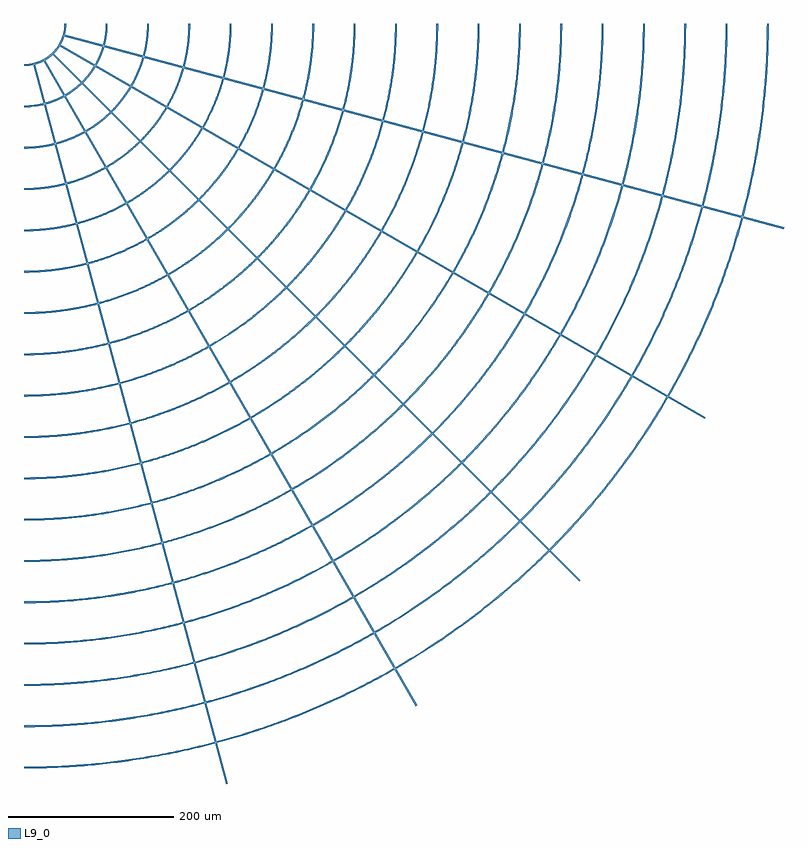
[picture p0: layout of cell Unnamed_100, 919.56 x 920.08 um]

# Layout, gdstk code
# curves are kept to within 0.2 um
from math import pi, radians
import gdstk
lib = gdstk.Library(unit=1e-6, precision=1e-09)
def R(c, l, rs):  # rectangles x0, y0, x1, y1
    for r in rs: c.add(gdstk.rectangle(r[:2], r[2:], *l))
def P(c, l, *ps):  # polygons
    for p in ps: c.add(gdstk.Polygon(p, *l))
L9_0 = (9, 0)

rectangle_s2_902_l9_0_c_ = lib.new_cell('rectangle_S2_902_L9_0_C_224e03a7')
R(rectangle_s2_902_l9_0_c_, L9_0, [(0,0,2,902)])

unnamed_101 = lib.new_cell('Unnamed_101')
P(unnamed_101, L9_0, [(0,-851),(0,-849),(22.701,-848.716),(49.922,-847.616),(77.097,-845.691),(99.689,-843.458),(117.719,-841.262),(140.187,-838.005),(158.097,-834.992),(180.394,-830.718),(202.576,-825.882),(220.229,-821.611),(242.168,-815.772),(263.952,-809.381),(285.569,-802.441),(307.003,-794.959),(328.241,-786.937),(345.082,-780.135),(365.934,-771.157),(382.448,-763.597),(402.87,-753.68),(423.036,-743.251),(442.932,-732.315),(462.545,-720.881),(481.863,-708.956),(500.874,-696.546),(519.566,-683.66),(537.926,-670.307),(555.943,-656.494),(570.102,-645.118),(587.473,-630.501),(604.469,-615.45),(621.08,-599.974),(634.084,-587.294),(649.974,-571.08),(665.45,-554.469),(680.501,-537.473),(692.23,-523.605),(706.494,-505.943),(720.307,-487.926),(733.66,-469.566),(744.007,-454.638),(756.512,-435.69),(768.535,-416.432),(780.068,-396.877),(791.104,-377.037),(801.635,-356.924),(811.655,-336.552),(821.157,-315.934),(828.382,-299.27),(836.937,-278.241),(844.959,-257.003),(850.988,-239.871),(858.036,-218.29),(864.538,-196.538),(869.342,-179.022),(874.847,-156.997),(879.795,-134.84),(883.35,-117.029),(887.286,-94.67),(890.028,-76.716),(892.943,-54.201),(895.691,-27.097),(897.616,0.078),(898.716,27.299),(899,50),(901,50),(900.715,27.249),(899.854,4.512),(898.418,-18.196),(896.41,-40.861),(894.391,-58.951),(891.355,-81.501),(887.75,-103.967),(883.579,-126.335),(878.845,-148.59),(873.55,-170.719),(868.913,-188.321),(862.618,-210.186),(855.772,-231.885),(848.382,-253.405),(840.45,-274.731),(831.982,-295.85),(824.825,-312.587),(815.407,-333.299),(805.468,-353.767),(795.015,-373.977),(784.056,-393.917),(774.928,-409.666),(763.074,-429.087),(750.733,-448.203),(737.913,-467.001),(727.318,-481.803),(713.658,-499.999),(699.542,-517.844),(684.98,-535.327),(669.981,-552.437),(654.555,-569.163),(638.712,-585.494),(622.461,-601.42),(605.814,-616.93),(588.78,-632.015),(574.882,-643.77),(557.18,-658.065),(539.122,-671.909),(520.721,-685.293),(501.988,-698.207),(486.771,-708.195),(467.47,-720.245),(447.871,-731.804),(427.987,-742.864),(407.83,-753.418),(387.412,-763.46),(366.748,-772.983),(345.85,-781.982),(324.731,-790.45),(303.405,-798.382),(281.885,-805.772),(260.186,-812.618),(238.321,-818.913),(220.719,-823.55),(198.59,-828.845),(176.335,-833.579),(153.967,-837.75),(131.501,-841.355),(108.951,-844.391),(90.861,-846.41),(68.196,-848.418),(45.488,-849.854),(22.751,-850.715)],
  [(0,-701),(0,-699),(18.913,-698.763),(41.592,-697.847),(64.233,-696.243),(86.815,-693.954),(120.531,-689.241),(150.295,-683.768),(168.776,-679.739),(187.149,-675.245),(219.911,-665.991),(237.921,-660.21),(255.779,-653.976),(287.504,-641.625),(318.636,-627.846),(335.651,-619.584),(352.451,-610.895),(369.028,-601.784),(385.368,-592.258),(414.155,-574.083),(429.782,-563.426),(445.135,-552.378),(460.204,-540.946),(474.979,-529.137),(500.805,-506.955),(514.709,-494.131),(528.285,-480.96),(541.524,-467.451),(554.418,-453.612),(576.73,-427.898),(597.851,-401.197),(609.053,-385.957),(619.868,-370.438),(630.287,-354.652),(640.304,-338.607),(657.301,-309.109),(666.159,-292.397),(674.593,-275.467),(682.596,-258.329),(690.164,-240.994),(697.292,-223.474),(703.976,-205.779),(714.871,-173.525),(720.288,-155.402),(725.245,-137.149),(733,-103.999),(739.241,-70.531),(743.954,-36.815),(746.243,-14.233),(747.847,8.408),(748.763,31.087),(749,50),(751,50),(750.763,31.036),(750.045,12.085),(747.547,-21.959),(745.491,-40.813),(742.961,-59.609),(739.956,-78.334),(736.479,-96.978),(729.04,-130.293),(724.255,-148.645),(719.008,-166.87),(713.302,-184.957),(707.142,-202.893),(700.53,-220.669),(693.472,-238.272),(679.656,-269.487),(671.372,-286.547),(662.66,-303.393),(645.917,-333.14),(636.036,-349.328),(625.75,-365.261),(615.064,-380.93),(603.986,-396.324),(583.081,-423.309),(570.943,-437.881),(558.442,-452.143),(545.584,-466.084),(532.378,-479.696),(518.833,-492.97),(504.957,-505.898),(490.759,-518.472),(476.247,-530.683),(461.433,-542.524),(446.324,-553.986),(418.416,-573.644),(402.535,-584.011),(386.397,-593.973),(370.013,-603.525),(353.393,-612.66),(336.547,-621.372),(319.487,-629.656),(288.272,-643.472),(270.669,-650.53),(252.893,-657.142),(234.957,-663.302),(216.87,-669.008),(198.645,-674.255),(180.293,-679.04),(146.978,-686.479),(128.334,-689.956),(109.609,-692.961),(90.813,-695.491),(71.959,-697.547),(37.915,-700.045),(18.964,-700.763)],
  [(0,-801),(0,-799),(21.438,-798.732),(47.145,-797.693),(68.536,-796.232),(94.145,-793.767),(115.421,-791.12),(132.39,-788.617),(149.304,-785.771),(170.361,-781.735),(191.309,-777.168),(212.135,-772.073),(228.699,-767.62),(249.272,-761.584),(269.686,-755.031),(289.928,-747.964),(309.985,-740.389),(325.889,-733.965),(345.582,-725.486),(365.053,-716.512),(384.292,-707.05),(403.286,-697.105),(422.023,-686.683),(436.819,-678.007),(455.063,-666.745),(473.017,-655.025),(487.163,-645.326),(504.566,-632.802),(521.646,-619.844),(538.394,-606.458),(551.546,-595.447),(567.669,-581.314),(583.429,-566.779),(598.817,-551.85),(610.854,-539.63),(625.548,-524.017),(639.843,-508.038),(653.73,-491.703),(664.54,-478.386),(677.671,-461.437),(690.369,-444.162),(702.627,-426.572),(714.437,-408.677),(725.791,-390.491),(736.683,-372.023),(747.105,-353.286),(757.05,-334.292),(764.659,-318.92),(773.731,-299.494),(782.309,-279.845),(790.389,-259.985),(796.49,-243.955),(803.658,-223.749),(810.315,-203.368),(816.454,-182.826),(822.073,-162.135),(827.168,-141.309),(830.864,-124.56),(835.006,-103.524),(837.938,-86.624),(840.527,-69.668),(843.28,-48.405),(845.875,-22.809),(847.693,2.855),(848.732,28.562),(849,50),(851,50),(850.731,28.511),(849.917,7.036),(848.876,-10.125),(847.087,-31.541),(844.758,-52.905),(841.89,-74.204),(838.485,-95.423),(834.546,-116.549),(830.074,-137.57),(825.073,-158.47),(819.546,-179.238),(814.748,-195.747),(808.282,-216.242),(801.302,-236.568),(795.349,-252.697),(787.452,-272.684),(779.053,-292.465),(770.156,-312.028),(760.769,-331.36),(750.897,-350.449),(740.546,-369.282),(729.722,-387.848),(720.728,-402.501),(709.072,-420.556),(699.421,-434.784),(686.957,-452.291),(674.054,-469.477),(660.722,-486.332),(646.968,-502.845),(632.801,-519.006),(618.232,-534.803),(603.267,-550.228),(587.919,-565.27),(572.195,-579.919),(556.106,-594.167),(539.663,-608.004),(522.875,-621.422),(505.754,-634.411),(491.825,-644.488),(474.131,-656.686),(456.135,-668.433),(437.848,-679.722),(419.282,-690.546),(400.449,-700.897),(385.198,-708.833),(365.913,-718.318),(346.396,-727.313),(326.657,-735.812),(306.71,-743.81),(286.568,-751.302),(266.242,-758.282),(245.747,-764.748),(229.238,-769.546),(208.47,-775.073),(187.57,-780.074),(166.549,-784.546),(145.423,-788.485),(124.204,-791.89),(102.905,-794.758),(81.541,-797.087),(60.125,-798.876),(42.964,-799.917),(21.489,-800.731)],
  [(0,-551),(0,-549),(18.15,-548.727),(36.283,-547.902),(54.383,-546.528),(72.433,-544.606),(99.378,-540.701),(123.158,-536.204),(149.669,-530.002),(175.87,-522.602),(201.709,-514.018),(229.927,-503.116),(254.824,-492.096),(281.867,-478.54),(305.594,-465.185),(331.214,-449.1),(355.989,-431.742),(379.857,-413.155),(400.511,-395.415),(422.487,-374.627),(443.386,-352.755),(463.155,-329.857),(481.742,-305.989),(497.421,-283.73),(513.635,-258.192),(527.109,-234.533),(540.802,-207.558),(551.947,-182.717),(561.952,-157.396),(571.706,-128.76),(579.239,-102.596),(586.204,-73.158),(590.701,-49.378),(594.606,-22.433),(596.528,-4.383),(597.902,13.717),(598.727,31.85),(599,50),(601,50),(600.235,19.658),(597.938,-10.607),(594.116,-40.718),(589.38,-67.622),(582.69,-97.227),(574.514,-126.458),(565.902,-152.382),(554.962,-180.694),(542.608,-208.418),(530.304,-232.808),(515.35,-259.221),(500.766,-282.32),(483.35,-307.178),(464.701,-331.125),(444.867,-354.1),(426.044,-373.898),(404.1,-394.867),(381.125,-414.701),(357.178,-433.35),(334.845,-449.081),(311.82,-463.782),(285.483,-478.869),(258.418,-492.608),(230.694,-504.962),(202.382,-515.902),(176.458,-524.514),(147.227,-532.69),(117.622,-539.38),(90.718,-544.116),(60.607,-547.938),(30.342,-550.235)],
  [(0,-451),(0,-449),(25.193,-448.365),(50.321,-446.458),(75.322,-443.284),(102.597,-438.34),(124.682,-433.174),(146.51,-427.009),(170.405,-419.004),(191.542,-410.776),(212.282,-401.596),(234.811,-390.303),(256.741,-377.886),(278.016,-364.379),(298.582,-349.814),(316.441,-335.833),(335.517,-319.365),(351.955,-303.737),(367.666,-287.378),(384.23,-268.386),(399.814,-248.582),(414.379,-228.016),(426.584,-208.899),(439.111,-187.032),(450.518,-164.56),(459.802,-143.866),(469.004,-120.405),(476.263,-98.917),(482.538,-77.121),(487.816,-55.063),(492.498,-30.301),(496.197,-2.828),(498.365,24.807),(499,50),(501,50),(500.363,24.706),(498.696,1.995),(495.637,-23.121),(491.313,-48.051),(485.736,-72.73),(478.921,-97.097),(471.742,-118.708),(462.623,-142.309),(452.324,-165.42),(440.871,-187.982),(428.294,-209.936),(416.04,-229.13),(402.926,-247.747),(387.38,-267.71),(370.846,-286.862),(355.155,-303.366),(336.862,-320.846),(317.71,-337.38),(297.747,-352.926),(279.13,-366.04),(259.936,-378.294),(237.982,-390.871),(215.42,-402.324),(192.309,-412.623),(168.708,-421.742),(147.097,-428.921),(122.73,-435.736),(98.051,-441.313),(73.121,-445.637),(48.005,-448.696),(25.294,-450.363)],
  [(0,-1),(0,1),(5.188,1.275),(10.559,2.151),(15.799,3.617),(20.845,5.655),(28.117,9.869),(34.561,15.264),(39.988,21.681),(44.239,28.931),(46.303,33.967),(47.795,39.2),(48.698,44.566),(49,50),(51,50),(50.74,44.857),(50.014,40.019),(48.752,35.026),(47.093,30.424),(45.001,26.001),(42.494,21.8),(39.434,17.658),(36.153,14.029),(32.342,10.566),(28.414,7.649),(23.999,4.999),(19.576,2.907),(14.974,1.248),(9.981,-0.014),(5.143,-0.74)],
  [(0,-401),(0,-399),(22.668,-398.429),(47.535,-396.478),(70.015,-393.509),(94.535,-388.936),(114.384,-384.187),(133.996,-378.541),(153.331,-372.009),(174.441,-363.73),(193.061,-355.376),(213.281,-345.112),(231.015,-335.012),(250.158,-322.858),(268.664,-309.753),(284.734,-297.173),(301.898,-282.355),(316.689,-268.293),(330.826,-253.573),(345.73,-236.484),(359.753,-218.664),(371.59,-202.038),(382.659,-184.892),(394.03,-165.274),(404.395,-145.106),(413.73,-124.441),(422.009,-103.331),(428.541,-83.996),(434.187,-64.384),(438.936,-44.535),(443.509,-20.015),(446.478,2.465),(448.429,27.332),(449,50),(451,50),(450.426,27.231),(448.926,6.786),(446.172,-15.824),(442.28,-38.265),(437.26,-60.482),(431.124,-82.417),(424.662,-101.871),(416.453,-123.117),(408.156,-141.862),(397.949,-162.224),(386.727,-182.044),(374.519,-201.273),(362.714,-218.032),(348.719,-236.002),(333.835,-253.243),(319.71,-268.1),(303.243,-283.835),(287.76,-297.27),(269.86,-311.355),(251.273,-324.519),(232.044,-336.727),(212.224,-347.949),(191.862,-358.156),(173.117,-366.453),(151.871,-374.662),(132.417,-381.124),(110.482,-387.26),(88.265,-392.28),(65.824,-396.172),(43.214,-398.926),(22.769,-400.426)],
  [(0,-601),(0,-599),(16.388,-598.795),(36.039,-598.001),(55.657,-596.611),(75.224,-594.628),(104.439,-590.543),(133.438,-585.136),(149.434,-581.564),(165.334,-577.589),(193.682,-569.428),(221.629,-559.987),(249.119,-549.285),(276.094,-537.346),(290.837,-530.187),(305.395,-522.658),(331.102,-508.189),(345.092,-499.65),(358.861,-490.761),(372.401,-481.527),(385.704,-471.954),(409.024,-453.888),(421.618,-443.398),(433.942,-432.595),(445.99,-421.483),(457.753,-410.071),(469.225,-398.366),(480.397,-386.374),(491.263,-374.104),(501.815,-361.564),(519.999,-338.336),(529.639,-325.081),(538.941,-311.588),(554.816,-286.724),(563.142,-272.607),(571.108,-258.284),(584.527,-232.013),(591.462,-217.163),(598.02,-202.143),(608.86,-174.708),(614.34,-159.261),(619.428,-143.682),(627.589,-115.334),(631.564,-99.434),(635.136,-83.438),(640.543,-54.439),(644.628,-25.224),(646.611,-5.657),(648.001,13.961),(648.795,33.612),(649,50),(651,50),(650.794,33.561),(650.172,17.133),(648.007,-12.378),(646.225,-28.721),(644.031,-45.014),(641.426,-61.246),(638.413,-77.407),(631.964,-106.286),(627.816,-122.194),(623.267,-137.992),(618.322,-153.671),(612.982,-169.219),(602.387,-196.848),(595.961,-211.98),(589.156,-226.945),(575.963,-253.431),(568.117,-267.878),(559.909,-282.122),(551.344,-296.155),(542.427,-309.967),(533.165,-323.549),(523.562,-336.893),(513.626,-349.99),(503.362,-362.832),(492.777,-375.411),(481.877,-387.719),(461.489,-409.164),(449.747,-420.671),(437.719,-431.877),(425.411,-442.777),(412.832,-453.362),(399.99,-463.626),(386.893,-473.562),(362.702,-490.602),(348.935,-499.589),(334.946,-508.224),(320.744,-516.504),(306.336,-524.423),(279.917,-537.75),(264.987,-544.631),(249.887,-551.132),(234.628,-557.251),(219.219,-562.982),(191.138,-572.31),(175.363,-576.938),(159.476,-581.166),(143.487,-584.992),(127.407,-588.413),(111.246,-591.426),(95.014,-594.031),(78.721,-596.225),(62.378,-598.007),(32.867,-600.172),(16.439,-600.794)],
  [(0,-351),(0,-349),(20.144,-348.492),(42.241,-346.759),(64.208,-343.801),(84.008,-340.057),(101.646,-335.837),(120.996,-330.213),(138.148,-324.322),(155.015,-317.658),(171.562,-310.234),(189.53,-301.113),(205.29,-292.138),(222.301,-281.337),(237.128,-270.893),(253.026,-258.512),(268.279,-245.344),(281.423,-232.848),(293.985,-219.768),(307.23,-204.581),(319.691,-188.746),(330.21,-173.972),(341.096,-157.015),(351.113,-139.53),(360.234,-121.562),(367.658,-105.015),(374.322,-88.148),(380.213,-70.996),(385.837,-51.646),(390.057,-34.008),(393.801,-14.208),(396.759,7.759),(398.492,29.856),(399,50),(401,50),(400.49,29.755),(398.957,9.561),(396.407,-10.529),(393.247,-28.48),(388.783,-48.233),(383.328,-67.736),(377.582,-85.034),(370.283,-103.924),(362.906,-120.591),(353.83,-138.696),(343.852,-156.319),(334.122,-171.731),(322.501,-188.317),(310.058,-204.295),(296.825,-219.624),(284.266,-232.834),(269.624,-246.825),(254.295,-260.058),(239.942,-271.294),(223.415,-282.998),(208.053,-292.806),(190.48,-302.873),(172.422,-312.039),(153.924,-320.283),(135.034,-327.582),(117.736,-333.328),(98.233,-338.783),(78.48,-343.247),(60.529,-346.407),(40.439,-348.957),(20.245,-350.49)],
  [(0,-251),(0,-249),(16.604,-248.539),(33.156,-247.157),(48.116,-245.104),(64.429,-241.977),(77.63,-238.747),(90.671,-234.921),(103.525,-230.507),(116.164,-225.513),(128.564,-219.95),(142.029,-213.115),(153.839,-206.389),(166.587,-198.295),(178.91,-189.568),(189.611,-181.191),(199.921,-172.336),(210.891,-161.959),(220.305,-152.157),(230.23,-140.776),(239.568,-128.91),(247.45,-117.838),(254.822,-106.421),(262.394,-93.356),(269.297,-79.926),(274.923,-67.554),(279.98,-54.94),(284.46,-42.109),(288.352,-29.088),(291.977,-14.429),(295.104,1.884),(297.157,16.844),(298.539,33.396),(299,50),(301,50),(300.69,36.322),(299.616,21.159),(297.778,6.069),(295.474,-7.417),(292.198,-22.261),(288.613,-35.465),(283.93,-49.927),(278.523,-64.134),(273.049,-76.672),(266.305,-90.296),(258.883,-103.562),(250.8,-116.436),(242.077,-128.886),(232.737,-140.879),(223.823,-151.258),(213.377,-162.302),(202.386,-172.803),(190.879,-182.737),(178.886,-192.077),(167.701,-199.956),(154.868,-208.104),(141.639,-215.593),(129.424,-221.755),(115.539,-227.943),(101.359,-233.422),(88.376,-237.735),(73.736,-241.829),(58.909,-245.18),(43.931,-247.778),(28.841,-249.616),(13.678,-250.69)],
  [(0,-151),(0,-149),(11.051,-148.693),(22.067,-147.773),(33.015,-146.243),(44.842,-143.883),(53.606,-141.645),(62.259,-139.011),(78.239,-132.975),(87.377,-128.792),(95.411,-124.637),(103.248,-120.121),(110.872,-115.253),(119.074,-109.445),(126.196,-103.869),(133.058,-97.976),(140.359,-91.069),(146.624,-84.546),(153.23,-76.972),(159.445,-69.074),(164.691,-61.705),(170.121,-53.248),(174.637,-45.411),(178.792,-37.377),(182.975,-28.239),(189.011,-12.259),(191.645,-3.606),(193.883,5.158),(196.243,16.985),(197.773,27.933),(198.693,38.949),(199,50),(201,50),(200.793,40.866),(200.076,30.741),(198.848,20.664),(197.114,10.662),(194.876,0.761),(192.142,-9.015),(188.917,-18.64),(185.603,-27.154),(181.471,-36.426),(176.876,-45.478),(172.355,-53.417),(166.914,-61.986),(161.653,-69.455),(155.416,-77.464),(149.463,-84.395),(142.487,-91.769),(135.898,-98.098),(128.248,-104.77),(120.27,-111.047),(111.986,-116.914),(103.417,-122.355),(95.478,-126.876),(86.426,-131.471),(77.154,-135.603),(68.64,-138.917),(59.015,-142.142),(49.239,-144.876),(39.338,-147.114),(29.336,-148.848),(19.259,-150.076),(9.134,-150.793)],
  [(0,-301),(0,-299),(17.62,-298.556),(36.948,-297.04),(54.422,-294.732),(73.481,-291.178),(90.612,-287.033),(105.834,-282.567),(120.837,-277.414),(135.59,-271.585),(151.653,-264.33),(165.78,-257.114),(179.564,-249.263),(194.444,-239.816),(208.828,-229.63),(221.319,-219.851),(234.66,-208.334),(246.157,-197.403),(258.334,-184.66),(268.73,-172.679),(279.63,-158.828),(289.816,-144.444),(299.263,-129.564),(307.114,-115.78),(314.33,-101.653),(321.585,-85.59),(327.414,-70.837),(332.567,-55.834),(337.033,-40.612),(341.178,-23.481),(344.732,-4.422),(347.04,13.052),(348.556,32.38),(349,50),(351,50),(350.553,32.279),(349.212,14.604),(346.979,-2.982),(344.213,-18.694),(340.306,-35.985),(335.531,-53.056),(330.502,-68.196),(324.113,-84.732),(316.897,-100.923),(308.874,-116.73),(300.062,-132.111),(291.477,-145.558),(281.232,-160.024),(271.398,-172.587),(261.003,-184.69),(248.821,-197.568),(236.005,-209.814),(222.587,-221.398),(210.024,-231.232),(195.558,-241.477),(182.111,-250.062),(166.73,-258.874),(150.923,-266.897),(134.732,-274.113),(118.196,-280.502),(103.056,-285.531),(85.985,-290.306),(68.694,-294.213),(52.982,-296.979),(35.396,-299.212),(17.721,-300.553)],
  [(0,-101),(0,-99),(9.025,-98.727),(18.017,-97.907),(26.943,-96.544),(35.04,-94.822),(47.33,-91.283),(59.272,-86.704),(72.098,-80.396),(83.639,-73.311),(94.488,-65.209),(105.093,-55.625),(114.73,-45.069),(123.311,-33.639),(130.396,-22.098),(136.704,-9.272),(141.283,2.67),(144.822,14.96),(146.544,23.057),(147.907,31.983),(148.727,40.975),(149,50),(151,50),(150.306,35.531),(148.228,21.196),(144.786,7.126),(139.724,-7.256),(133.238,-21.055),(125.816,-33.495),(116.755,-45.757),(107.043,-56.503),(95.757,-66.755),(84.129,-75.393),(71.055,-83.238),(57.961,-89.433),(44.335,-94.345),(29.552,-98.08),(14.469,-100.306)],
  [(0,-201),(0,-199),(13.827,-198.616),(27.611,-197.465),(41.311,-195.55),(54.882,-192.877),(65.862,-190.132),(76.706,-186.891),(87.392,-183.161),(97.897,-178.949),(108.199,-174.264),(119.383,-168.515),(129.19,-162.865),(139.772,-156.071),(148.992,-149.506),(157.904,-142.53),(166.489,-135.156),(175.625,-126.514),(183.464,-118.351),(191.73,-108.874),(199.506,-98.992),(206.071,-89.772),(212.865,-79.19),(218.515,-69.383),(224.264,-58.199),(228.949,-47.897),(233.161,-37.392),(236.891,-26.706),(240.132,-15.862),(242.877,-4.882),(245.55,8.689),(247.465,22.389),(248.616,36.173),(249,50),(251,50),(250.681,37.328),(249.846,25.95),(248.495,14.621),(246.392,2.121),(243.962,-9.026),(240.67,-21.268),(236.765,-33.327),(232.257,-45.175),(227.155,-56.779),(221.475,-68.111),(215.879,-78.053),(209.139,-88.789),(201.865,-99.171),(194.878,-108.19),(186.643,-117.827),(177.932,-127.035),(168.767,-135.793),(160.15,-143.27),(150.188,-151.109),(139.844,-158.435),(129.142,-165.229),(118.111,-171.475),(107.925,-176.613),(96.347,-181.773),(85.715,-185.912),(73.695,-189.938),(61.488,-193.353),(49.123,-196.147),(36.633,-198.313),(24.05,-199.846),(12.672,-200.681)],
  [(0,-651),(0,-649),(17.651,-648.779),(38.816,-647.924),(59.945,-646.427),(81.019,-644.291),(112.485,-639.892),(140.262,-634.785),(171.235,-627.704),(188.293,-623.164),(205.231,-618.195),(222.038,-612.799),(238.704,-606.981),(268.312,-595.455),(297.365,-582.596),(313.244,-574.886),(328.923,-566.777),(356.611,-551.193),(371.678,-541.996),(386.508,-532.422),(401.092,-522.476),(415.42,-512.166),(429.483,-501.497),(443.272,-490.476),(467.374,-469.775),(480.35,-457.807),(493.019,-445.516),(515.027,-422.6),(526.797,-409.445),(538.23,-395.996),(557.941,-371.077),(568.396,-356.854),(578.488,-342.372),(588.211,-327.639),(597.56,-312.666),(613.423,-285.137),(621.69,-269.54),(629.56,-253.74),(637.029,-237.746),(644.092,-221.568),(650.744,-205.218),(656.981,-188.704),(667.15,-158.603),(675.94,-128.072),(680.221,-110.946),(684.068,-93.719),(689.892,-62.485),(694.291,-31.019),(696.427,-9.945),(697.924,11.184),(698.779,32.349),(699,50),(701,50),(700.779,32.299),(700.108,14.609),(698.991,-3.058),(697.429,-20.692),(693.496,-52.311),(690.691,-69.79),(687.446,-87.193),(680.502,-118.29),(676.035,-135.419),(671.138,-152.431),(665.812,-169.314),(660.062,-186.056),(648.653,-215.807),(641.734,-232.101),(634.406,-248.216),(626.674,-264.14),(618.541,-279.864),(610.015,-295.378),(601.099,-310.672),(584.088,-337.614),(574.114,-352.239),(563.774,-366.608),(544.261,-391.797),(532.931,-405.399),(521.262,-418.711),(509.26,-431.724),(496.934,-444.43),(473.953,-466.501),(460.759,-478.304),(447.272,-489.77),(433.499,-500.892),(419.45,-511.663),(405.134,-522.075),(390.559,-532.123),(375.735,-541.8),(360.672,-551.099),(332.984,-566.867),(317.302,-575.079),(301.416,-582.892),(285.339,-590.301),(269.079,-597.302),(252.648,-603.89),(236.056,-610.062),(219.314,-615.812),(202.431,-621.138),(185.419,-626.035),(168.29,-630.502),(137.193,-637.446),(119.79,-640.691),(102.311,-643.496),(70.692,-647.429),(53.058,-648.991),(35.391,-650.108),(17.701,-650.779)],
  [(0,-51),(0,-49),(10.481,-48.444),(20.355,-46.885),(30.498,-44.186),(39.84,-40.63),(47.904,-36.639),(55.572,-31.932),(63.167,-26.23),(69.827,-20.18),(75.91,-13.551),(81.366,-6.397),(86.396,1.659),(90.428,9.703),(94.186,19.502),(96.781,29.156),(98.444,39.519),(99,50),(101,50),(100.535,40.322),(99.146,30.734),(96.697,20.834),(93.458,11.703),(89.119,2.473),(84.155,-5.847),(78.417,-13.654),(71.598,-21.237),(64.443,-27.77),(56.272,-33.872),(47.527,-39.119),(38.769,-43.263),(29.654,-46.549),(19.767,-49.047),(10.185,-50.485)],
  [(0,-751),(0,-749),(20.176,-748.748),(44.369,-747.77),(64.499,-746.395),(88.6,-744.075),(104.624,-742.123),(124.593,-739.228),(144.482,-735.831),(160.328,-732.751),(180.042,-728.453),(199.642,-723.659),(215.23,-719.468),(234.592,-713.788),(253.804,-707.62),(272.854,-700.97),(287.969,-695.305),(306.697,-687.795),(325.229,-679.816),(339.907,-673.096),(358.057,-664.283),(375.98,-655.014),(393.662,-645.295),(411.094,-635.133),(428.263,-624.534),(441.803,-615.744),(458.473,-604.376),(474.85,-592.59),(490.925,-580.395),(506.687,-567.797),(522.125,-554.806),(537.231,-541.429),(549.069,-530.455),(563.551,-516.405),(577.674,-501.994),(591.429,-487.231),(604.806,-472.125),(615.23,-459.801),(627.907,-444.103),(640.184,-428.09),(652.052,-411.772),(661.247,-398.505),(672.362,-381.665),(683.048,-364.549),(693.298,-347.169),(703.106,-329.536),(712.465,-311.66),(719.626,-297.193),(728.164,-278.911),(736.237,-260.419),(743.841,-241.729),(750.97,-222.854),(756.329,-207.627),(762.593,-188.446),(768.371,-169.114),(772.641,-153.547),(777.534,-133.972),(781.932,-114.279),(785.831,-94.482),(788.589,-78.578),(791.026,-62.62),(793.617,-42.61),(796.059,-18.521),(797.77,5.631),(798.748,29.824),(799,50),(801,50),(800.839,33.818),(800.175,13.601),(799.001,-6.593),(797.317,-26.75),(795.125,-46.859),(792.425,-66.906),(789.221,-86.879),(785.513,-106.764),(781.304,-126.549),(777.578,-142.297),(772.474,-161.87),(766.878,-181.309),(760.792,-200.599),(754.222,-219.731),(748.619,-234.912),(741.186,-253.725),(734.899,-268.636),(726.618,-287.092),(717.875,-305.332),(708.673,-323.346),(699.02,-341.122),(688.92,-358.648),(678.382,-375.914),(667.411,-392.908),(656.014,-409.62),(644.199,-426.039),(631.973,-442.154),(619.344,-457.955),(606.32,-473.432),(592.909,-488.576),(581.908,-500.444),(567.823,-514.962),(553.376,-529.12),(538.576,-542.909),(523.432,-556.32),(507.955,-569.344),(492.154,-581.973),(476.039,-594.199),(462.928,-603.684),(446.274,-615.165),(429.335,-626.222),(412.123,-636.848),(394.648,-647.035),(380.486,-654.866),(362.566,-664.249),(344.414,-673.176),(326.043,-681.642),(307.465,-689.642),(288.69,-697.17),(269.731,-704.222),(250.599,-710.792),(231.309,-716.878),(211.87,-722.474),(192.297,-727.578),(176.549,-731.304),(156.764,-735.513),(136.879,-739.221),(116.906,-742.425),(96.859,-745.125),(76.75,-747.317),(56.593,-749.001),(36.399,-750.175),(16.182,-750.839)],
  [(0,-501),(0,-499),(16.635,-498.75),(33.254,-497.994),(49.843,-496.734),(66.387,-494.973),(91.082,-491.393),(112.878,-487.272),(137.176,-481.588),(161.19,-474.805),(187.48,-465.998),(210.734,-456.946),(233.553,-446.846),(258.339,-434.421),(282.466,-420.761),(305.873,-405.9),(328.5,-389.876),(348.149,-374.494),(369.136,-356.376),(387.221,-339.182),(406.376,-319.136),(422.73,-300.289),(439.876,-278.5),(455.9,-255.873),(470.761,-232.466),(483.11,-210.782),(495.66,-186.059),(505.875,-163.292),(515.045,-140.084),(523.984,-113.839),(531.588,-87.176),(537.272,-62.878),(541.393,-41.082),(544.973,-16.387),(546.734,0.157),(547.994,16.746),(548.75,33.365),(549,50),(551,50),(550.299,22.182),(548.466,-2.796),(545.501,-27.664),(540.884,-55.106),(534.888,-82.279),(527.527,-109.115),(518.822,-135.545),(509.854,-158.929),(498.656,-184.404),(486.186,-209.28),(472.476,-233.495),(459.105,-254.672),(444.786,-275.22),(427.8,-297.261),(409.722,-318.416),(390.6,-338.632),(372.536,-355.98),(351.565,-374.27),(329.696,-391.478),(306.987,-407.56),(283.495,-422.476),(259.28,-436.186),(234.404,-448.656),(211.502,-458.792),(185.545,-468.822),(161.777,-476.717),(134.979,-484.213),(107.836,-490.346),(83.171,-494.688),(55.565,-498.193),(27.818,-500.299)])

unnamed_100 = lib.new_cell('Unnamed_100')
unnamed_100.add(gdstk.Reference(rectangle_s2_902_l9_0_c_, (48.296,-12.941), rotation=radians(255)))
unnamed_100.add(gdstk.Reference(rectangle_s2_902_l9_0_c_, (35.355,-35.355), rotation=radians(225)))
unnamed_100.add(gdstk.Reference(rectangle_s2_902_l9_0_c_, (25,-43.301), rotation=radians(210)))
unnamed_100.add(gdstk.Reference(rectangle_s2_902_l9_0_c_, (12.941,-48.296), rotation=radians(195)))
unnamed_100.add(gdstk.Reference(rectangle_s2_902_l9_0_c_, (43.301,-25), rotation=radians(240)))
unnamed_100.add(gdstk.Reference(unnamed_101, (0,-50)))

lib.write_gds('Unnamed_100.gds')
